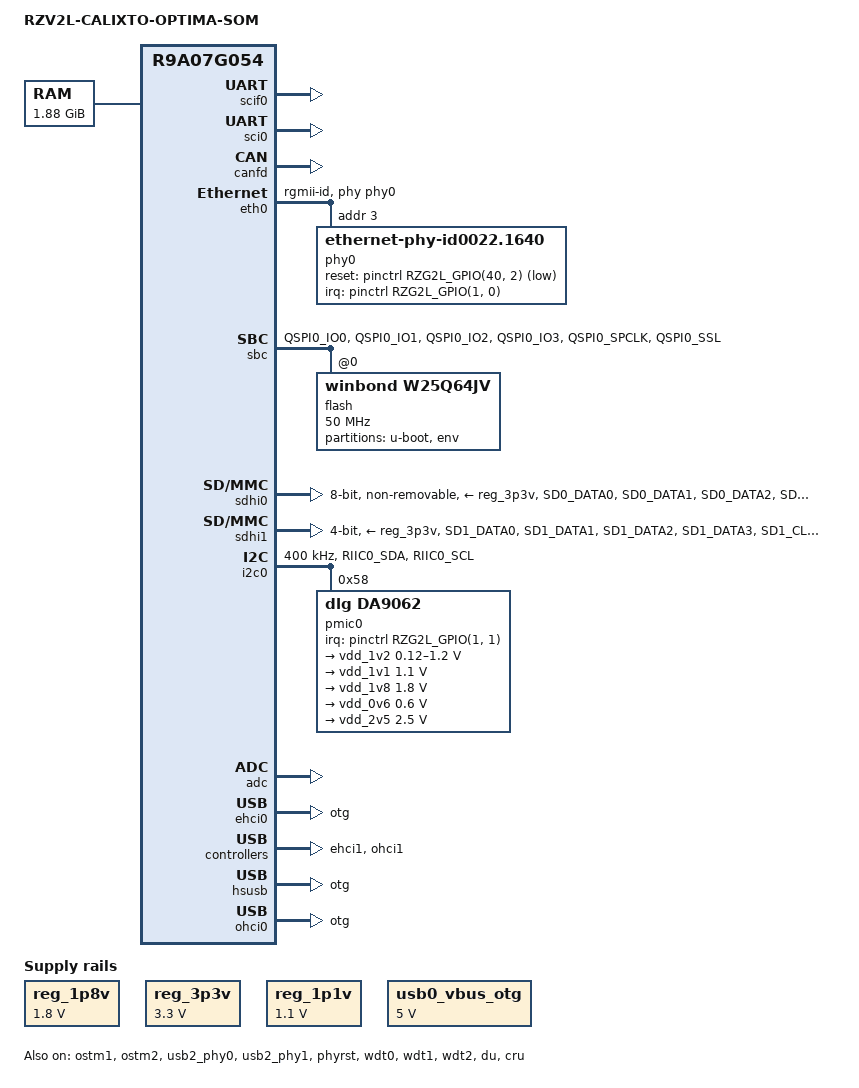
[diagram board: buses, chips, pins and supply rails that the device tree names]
// SPDX-License-Identifier: (GPL-2.0-only OR BSD-2-Clause)
/*
 * Device Tree Source for the RZV2L OPTIMA SOM
 *
 * Copyright (C) 2024 Calixto Systems PVT LTD.
 */

/dts-v1/;
//#include "r9a07g054l2.dtsi"
#include "r9a07g054.dtsi"
#include <dt-bindings/gpio/gpio.h>
#include <dt-bindings/pinctrl/rzg2l-pinctrl.h>
#include <dt-bindings/regulator/dlg,da9063-regulator.h>

/ {
	model = "RZV2L-CALIXTO-OPTIMA-SOM";
	compatible = "calixto,rzv2l-calixto-optima-som", "renesas,r9a07g054l2", "renesas,r9a07g054";

	aliases {
                serial0 = &scif0;
		serial5 = &sci0;
		ethernet0 = &eth0;
		i2c0 = &i2c0;	
		rtc0 = &da9062_rtc;
	};

	chosen {
		stdout-path = "serial0:115200n8";
		bootargs = "ignore_loglevel rw root=/dev/nfs ip=on";
	};

	memory@48000000 {
		device_type = "memory";
		/* first 128MB is reserved for secure area. */
		reg = <0x0 0x48000000 0x0 0x78000000>;
	};

	reserved-memory {
		#address-cells = <2>;
		#size-cells = <2>;
		ranges;

		global_cma: linux,cma@58000000 {
			compatible = "shared-dma-pool";
			linux,cma-default;
			reusable;
			reg = <0x0 0x58000000 0x0 0x10000000>;
		};
		mmp_reserved: linux,multimedia {
			compatible = "shared-dma-pool";
			reusable;
			reg = <0x00000000 0x68000000 0x0 0x8000000>;
		};

		/* device specific region for contiguous allocations */
		drp_reserved: DRP-AI {
			reusable;
			reg = <0x0 0x80000000 0x0 0x20000000>;
		};

		image_buf0: image_buf@0 {
			compatible = "shared-dma-pool";
			reusable;
			reg = <0x0 0xB0000000 0x0 0x04000000>;
			label = "image_buf0";
		};

		isp_work0: SIMPLE_ISP {
			reusable;
			reg = <0x0 0xB4000000 0x0 0x03000000>;
		};
	};

	mmngr {
		compatible = "renesas,mmngr";
		memory-region = <&mmp_reserved>;
	};

	mmngrbuf {
		compatible = "renesas,mmngrbuf";
	};

	vspm_if {
		compatible = "renesas,vspm_if";
	};

	reg_1p8v: regulator0 {
		compatible = "regulator-fixed";
		regulator-name = "fixed-1.8V";
		regulator-min-microvolt = <1800000>;
		regulator-max-microvolt = <1800000>;
		regulator-boot-on;
		regulator-always-on;
	};

	reg_3p3v: regulator1 {
		compatible = "regulator-fixed";
		regulator-name = "fixed-3.3V";
		regulator-min-microvolt = <3300000>;
		regulator-max-microvolt = <3300000>;
		regulator-boot-on;
		regulator-always-on;
	};

	reg_1p1v: regulator-vdd-core {
		compatible = "regulator-fixed";
		regulator-name = "fixed-1.1V";
		regulator-min-microvolt = <1100000>;
		regulator-max-microvolt = <1100000>;
		regulator-boot-on;
		regulator-always-on;
	};


	usb0_vbus_otg: regulator-usb0-vbus-otg {
		compatible = "regulator-fixed";

		regulator-name = "USB0_VBUS_OTG";
		regulator-min-microvolt = <5000000>;
		regulator-max-microvolt = <5000000>;
	};

};


&pinctrl {
	sci0_pins: sci0 {
		pinmux = <RZG2L_PORT_PINMUX(47, 1, 1)>,	/* TxD */
			 <RZG2L_PORT_PINMUX(47, 0, 1)>;	/* RxD */
			 /* <RZG2L_PORT_PINMUX(47, 2, 0)>; */	/* GPIO - RS485 Output Enable */
	};

        scif0_pins: scif0 {
		pinmux = <RZG2L_PORT_PINMUX(38, 0, 1)>,	/* TxD */
			 <RZG2L_PORT_PINMUX(38, 1, 1)>;	/* RxD */
	};

	can1_pins: can1 {
		pinmux = <RZG2L_PORT_PINMUX(40, 0, 3)>, /* CAN TX */
			 <RZG2L_PORT_PINMUX(40, 1, 3)>; /* CAN RX */
	};

	i2c0_pins: i2c0 {
		pins = "RIIC0_SDA", "RIIC0_SCL";
		input-enable;
	};

	usb0_pins: usb0 {
		pinmux = 
			 <RZG2L_PORT_PINMUX(4, 0, 1)>, /* VBUS */
			 <RZG2L_PORT_PINMUX(5, 0, 1)>, /* OVC */
			 <RZG2L_PORT_PINMUX(5, 1, 1)>; /* OTG_ID */
	};

	usb1_pins: usb1 {
		pinmux = <RZG2L_PORT_PINMUX(42, 0, 1)>, /* VBUS */
			 <RZG2L_PORT_PINMUX(42, 1, 1)>; /* OVC */
	};

	eth0_pins: eth0 {
		pinmux = <RZG2L_PORT_PINMUX(28, 1, 1)>, /* ET0_LINKSTA */
			 <RZG2L_PORT_PINMUX(27, 1, 1)>, /* ET0_MDC */
			 <RZG2L_PORT_PINMUX(28, 0, 1)>, /* ET0_MDIO */
			 <RZG2L_PORT_PINMUX(20, 0, 1)>, /* ET0_TXC */
			 <RZG2L_PORT_PINMUX(20, 1, 1)>, /* ET0_TX_CTL */
			 <RZG2L_PORT_PINMUX(20, 2, 1)>, /* ET0_TXD0 */
			 <RZG2L_PORT_PINMUX(21, 0, 1)>, /* ET0_TXD1 */
			 <RZG2L_PORT_PINMUX(21, 1, 1)>, /* ET0_TXD2 */
			 <RZG2L_PORT_PINMUX(22, 0, 1)>, /* ET0_TXD3 */
			 <RZG2L_PORT_PINMUX(24, 0, 1)>, /* ET0_RXC */
			 <RZG2L_PORT_PINMUX(24, 1, 1)>, /* ET0_RX_CTL */
			 <RZG2L_PORT_PINMUX(25, 0, 1)>, /* ET0_RXD0 */
			 <RZG2L_PORT_PINMUX(25, 1, 1)>, /* ET0_RXD1 */
			 <RZG2L_PORT_PINMUX(26, 0, 1)>, /* ET0_RXD2 */
			 <RZG2L_PORT_PINMUX(26, 1, 1)>; /* ET0_RXD3 */
	};

	qspi0_pins: qspi0 {
		qspi0-data {
			pins = "QSPI0_IO0", "QSPI0_IO1", "QSPI0_IO2", "QSPI0_IO3";
			power-source = <3300>;
		};

		qspi0-ctrl {
			pins = "QSPI0_SPCLK", "QSPI0_SSL";
			power-source = <3300>;
		};
	};

	sdhi0_emmc_pins: sd0emmc {
		sd0_emmc_data {
			pins = "SD0_DATA0", "SD0_DATA1", "SD0_DATA2", "SD0_DATA3",
			       "SD0_DATA4", "SD0_DATA5", "SD0_DATA6", "SD0_DATA7";
			power-source = <1800>;
		};

		sd0_emmc_ctrl {
			pins = "SD0_CLK", "SD0_CMD";
			power-source = <1800>;
		};

		sd0_emmc_rst {
			pins = "SD0_RST#";
			power-source = <1800>;
		};
	};


	sdhi1_pins: sd1 {
		sd1_data {
			pins = "SD1_DATA0", "SD1_DATA1", "SD1_DATA2", "SD1_DATA3";
			power-source = <3300>;
		};

		sd1_ctrl {
			pins = "SD1_CLK", "SD1_CMD";
			power-source = <3300>;
		};

		sd1_mux {
			pinmux = <RZG2L_PORT_PINMUX(19, 0, 1)>; /* SD1_CD */
		};
	};

};



&scif0 {
	pinctrl-0 = <&scif0_pins>;
	pinctrl-names = "default";
	status = "okay";
};

&sci0 {
	pinctrl-0 = <&sci0_pins>;
	pinctrl-names = "default";
	status = "okay";
};

&canfd {
	pinctrl-0 = <&can1_pins>;
	pinctrl-names = "default";
	status = "okay";

	channel1 {
		status = "okay";
	};
};


&eth0 {
	pinctrl-0 = <&eth0_pins>;
	pinctrl-names = "default";
	phy-handle = <&phy0>;
	phy-mode = "rgmii-id"; 
	status = "okay";

	phy0: ethernet-phy@3 {
		compatible = "ethernet-phy-id0022.1640",
			     "ethernet-phy-ieee802.3-c22";
		reg = <3>;
		rxc-skew-psec = <2400>;
		txc-skew-psec = <2400>;
		rxdv-skew-psec = <0>;
		txdv-skew-psec = <0>;
		rxd0-skew-psec = <0>;
		rxd1-skew-psec = <0>;
		rxd2-skew-psec = <0>;
		rxd3-skew-psec = <0>;
		txd0-skew-psec = <0>;
		txd1-skew-psec = <0>;
		txd2-skew-psec = <0>;
		txd3-skew-psec = <0>;

		reset-assert-us = <10000>;
		reset-deassert-us = <10000>;
		reset-gpios = <&pinctrl RZG2L_GPIO(40, 2) GPIO_ACTIVE_LOW>;

		interrupt-parent = <&pinctrl>;
		interrupts = <RZG2L_GPIO(1, 0) IRQ_TYPE_LEVEL_LOW>;
	};
};

&sbc {
	pinctrl-0 = <&qspi0_pins>;
	pinctrl-names = "default";
	status = "okay";

	flash@0 {
		compatible = "winbond,w25q64jv", "spi-flash", "jedec,spi-nor";
		reg = <0>;
		spi-max-frequency = <50000000>;
		spi-rx-bus-width = <4>;
		spi-tx-bus-width = <4>;

		partitions {
			compatible = "fixed-partitions";
			#address-cells = <1>;
			#size-cells = <1>;

			partition@0000000 {
				label = "u-boot";
				reg = <0x00000000 0x760000>;
				read-only;
			};
			partition@80000 {
				label = "env";
				reg = <0x00760000 0x2000>;
				read-only;
			};
		};
	};
};

&sdhi0 {
	pinctrl-0 = <&sdhi0_emmc_pins>;
	pinctrl-1 = <&sdhi0_emmc_pins>;
	pinctrl-names = "default", "state_uhs";

	vmmc-supply = <&reg_3p3v>;
	vqmmc-supply = <&reg_1p8v>;
	bus-width = <8>;
	mmc-hs200-1_8v;
	non-removable;
	fixed-emmc-driver-type = <1>;
	status = "okay";
};

&sdhi1 {
	pinctrl-0 = <&sdhi1_pins>;
	pinctrl-1 = <&sdhi1_pins>;
	pinctrl-names = "default";

	vmmc-supply = <&reg_3p3v>;
	vqmmc-supply = <&reg_3p3v>;
	bus-width = <4>;
	status = "okay";
};

&i2c0 {
	pinctrl-0 = <&i2c0_pins>;
	pinctrl-names = "default";
	clock-frequency = <400000>;
	status = "okay";

	pmic0: da9062@58 {
		compatible = "dlg,da9062";
		reg = <0x58>;
		interrupt-parent = <&pinctrl>;
		interrupts = <RZG2L_GPIO(1, 1) IRQ_TYPE_LEVEL_LOW>;
		interrupt-controller;
		gpio-controller;

		da9062_rtc: rtc {
			compatible = "dlg,da9062-rtc";
			status = "okay";
		};

		da9062_onkey: onkey {
			compatible = "dlg,da9062-onkey";
                        status = "disabled";
		};

		watchdog {
			compatible = "dlg,da9062-watchdog";
			dlg,use-sw-pm;
                        status = "disabled";
		};

		thermal {
			compatible = "dlg,da9062-thermal";
			status = "disabled";
		};

		gpio {
			compatible = "dlg,da9062-gpio";
			status = "disabled";
		};

		regulators {
			vdd_1v2: buck1 {
				regulator-name = "vdd_1V2";
				regulator-min-microvolt = <120000>;
				regulator-max-microvolt = <1200000>;
				regulator-initial-mode = <DA9063_BUCK_MODE_SYNC>;
				regulator-always-on;
			};

			vdd_1v1: buck2 {
				regulator-name = "vdd_1V1";
				regulator-min-microvolt = <1100000>;
				regulator-max-microvolt = <1100000>;
				regulator-initial-mode = <DA9063_BUCK_MODE_SYNC>;
				regulator-always-on;
			};

			vdd_1v8: buck3 {
				regulator-name = "vdd_1V8";
				regulator-min-microvolt = <1800000>;
				regulator-max-microvolt = <1800000>;
				regulator-initial-mode = <DA9063_BUCK_MODE_SYNC>;
				regulator-always-on;
			};

			vdd_0v6: buck4 {
				regulator-name = "vdd_0V6";
				regulator-min-microvolt = <600000>;
				regulator-max-microvolt = <600000>;
				regulator-initial-mode = <DA9063_BUCK_MODE_SYNC>;
				regulator-always-on;
			};


			vdd_2v5: ldo2 {
				regulator-name = "vdd_2V5";
				regulator-min-microvolt = <2500000>;
				regulator-max-microvolt = <2500000>;
				regulator-always-on;
			};
		};

	};
};

&adc {
	status = "okay";
};

&extal_clk {
	clock-frequency = <24000000>;
};

&gpu {
	mali-supply = <&reg_1p1v>;
};

&ostm1 {
	status = "okay";
};

&ostm2 {
	status = "okay";
};

&ehci0 {
	dr_mode = "otg";
	status = "okay";
};

&ehci1 {
	status = "okay";
};

&hsusb {
	dr_mode = "otg";
	status = "okay";
};

&usb2_phy0 {
	pinctrl-0 = <&usb0_pins>;
	pinctrl-names = "default";

	vbus-supply = <&usb0_vbus_otg>;
	status = "okay";
};

&usb2_phy1 {
	pinctrl-0 = <&usb1_pins>;
	pinctrl-names = "default";

	status = "okay";
};

&ohci0 {
	dr_mode = "otg";
	status = "okay";
};

&ohci1 {
	status = "okay";
};

&phyrst {
	status = "okay";
};

&wdt0 {
	status = "okay";
	timeout-sec = <60>;
};

&wdt1 {
	status = "okay";
	timeout-sec = <60>;
};

&wdt2 {
	status = "okay";
	timeout-sec = <60>;
};

&ehci0 {
	memory-region = <&global_cma>;
};

&ohci0 {
	memory-region = <&global_cma>;
};

&ehci1 {
	memory-region = <&global_cma>;
};

&ohci1 {
	memory-region = <&global_cma>;
};

&ehci0 {
	memory-region = <&global_cma>;
};

&ohci0 {
	memory-region = <&global_cma>;
};

&ehci1 {
	memory-region = <&global_cma>;
};

&ohci1 {
	memory-region = <&global_cma>;
};

&du {
	status = "okay";
};

&cru {
	status = "okay";
};


